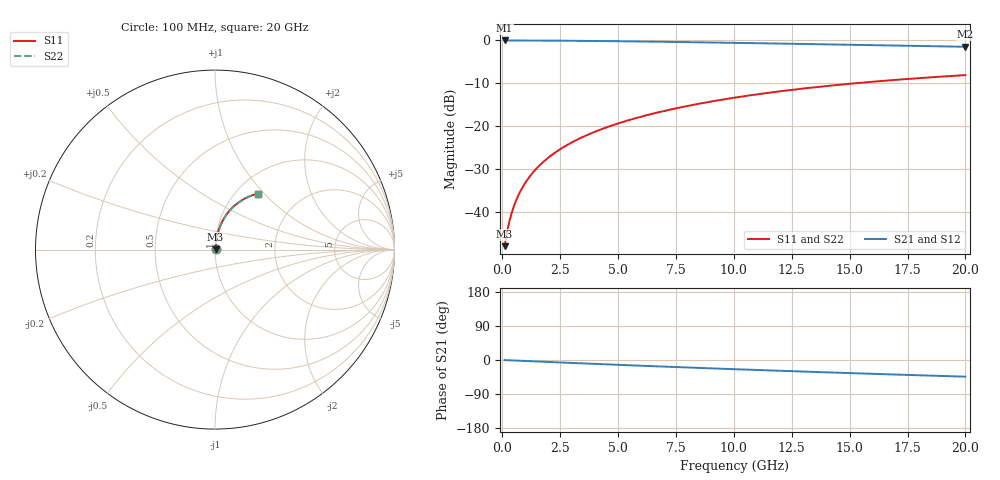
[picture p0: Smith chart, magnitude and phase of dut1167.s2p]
! Touchstone file exported from HFSS 2024.1.0
!  File:  C:/UserFiles/LocalFiles/RDL_TSV_Batchsim/temp_RDL_top_1167_1780048743.aedt
!  Generated:  06:01:02 PM May 29, 2026
!  Design:  RDL_top
!  Project:  temp_RDL_top_1167_1780048743
!  Setup:  Setup1
!  Solution:  Sweep
! Variables:
!  dtsv = 10.80580581um
!  hbump = 3um
!  htsv = 89.01um
!  ldown = 100um
!  lrdl = 653.22um
!  p = 40
!  p1 = 41.81um
!  rhole = 1um
!  t = 450um
!  tdown = 3.915915916um
!  trdl = 4.38um
!  wdown = 15.38538539um
!  wrdl = 16.71um
# GHz S MA R 50.000000
! Terminal data exported
! Port[1] = Box2_T1
! Port[2] = Box2_T2
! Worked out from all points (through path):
!   200 points, 100 MHz to 20 GHz, reference 50 ohm
!   highest |S21| = -0.03 dB at 100 MHz (marker M1); lowest = -1.5 dB at 20 GHz (marker M2)
!   group delay of S21, straight-line fit = 6.08 ps
!   lowest |S11| = -47.9 dB at 100 MHz (marker M3), VSWR 1.01, Z = 50.3 + j0.236 ohm
!   |S11| at or under -10 dB: start of sweep to 15.22 GHz
!   |S22| runs from -47.9 to -8.1 dB; largest |S21 - S12| = 3.2e-15
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0.1  0.004027 35.6  0.9967 -0.3  0.9967 -0.3  0.004027 35.6
! Gamma 0 0 0 0
! Port Impedance 50 0 50 0
0.2  0.005744 53.4  0.9966 -0.5  0.9966 -0.5  0.005744 53.4
0.3  0.007691 62.2  0.9964 -0.8  0.9964 -0.8  0.007691 62.2
0.4  0.009696 67.3  0.9962 -1.1  0.9962 -1.1  0.009696 67.3
0.5  0.01173 70.7  0.9961 -1.3  0.9961 -1.3  0.01173 70.7
0.6  0.01378 73.1  0.9959 -1.6  0.9959 -1.6  0.01378 73.1
0.8  0.01793 76.3  0.9956 -2.1  0.9956 -2.1  0.01793 76.3
1.1  0.02423 78.9  0.995 -2.9  0.995 -2.9  0.02423 78.9
1.3  0.02847 79.9  0.9946 -3.4  0.9946 -3.4  0.02847 79.9
1.6  0.03485 80.8  0.9938 -4.2  0.9938 -4.2  0.03485 80.8
2.1  0.04554 81.5  0.9922 -5.5  0.9922 -5.5  0.04553 81.4
2.7  0.05839 81.5  0.9898 -7.0  0.9898 -7.0  0.05839 81.5
3.5  0.07557 81.0  0.9858 -9.0  0.9858 -9.0  0.07556 81.0
4.2  0.09063 80.3  0.9817 -10.8  0.9817 -10.8  0.09061 80.3
5  0.1079 79.3  0.9765 -12.7  0.9765 -12.7  0.1078 79.3
5.9  0.1273 78.1  0.97 -14.9  0.97 -14.9  0.1272 78.0
6.8  0.1466 76.7  0.963 -17.0  0.963 -17.0  0.1466 76.6
8.4  0.1809 73.9  0.9496 -20.7  0.9496 -20.7  0.1808 73.9
10.1  0.2166 70.9  0.9346 -24.4  0.9346 -24.4  0.2165 70.8
13.4  0.2825 64.6  0.9038 -31.4  0.9038 -31.4  0.2823 64.5
16.7  0.3419 58.3  0.8724 -37.9  0.8724 -37.9  0.3417 58.3
20  0.3939 52.3  0.8414 -44.0  0.8414 -44.0  0.3936 52.3
